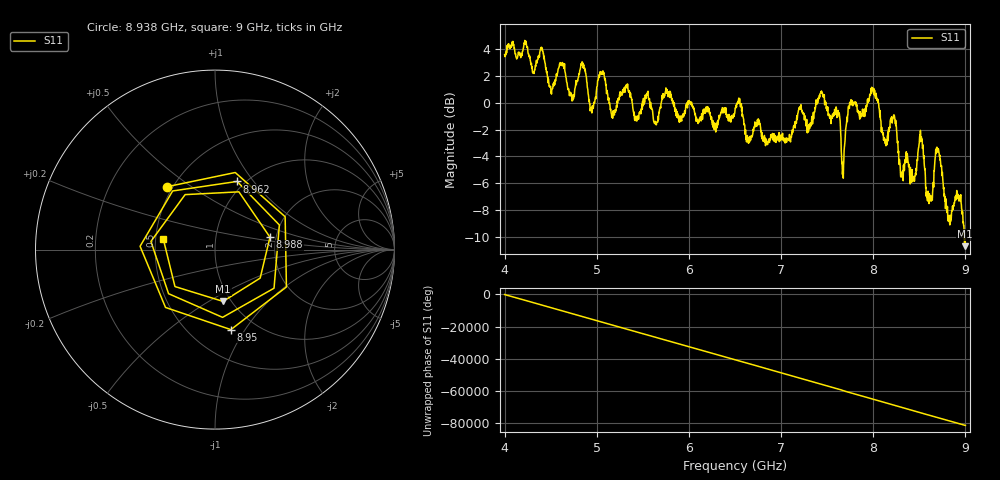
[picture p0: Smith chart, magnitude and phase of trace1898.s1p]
! Created with skrf 1.8.0 (http://scikit-rf.org).
# Hz S RI R 50.0
!freq ReS11 ImS11
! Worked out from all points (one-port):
!   1601 points, 4 GHz to 9 GHz, reference 50 ohm
!   lowest |S11| = -10.7 dB at 8.994 GHz (marker M1), VSWR 1.83, Z = 45.9 - j29 ohm
!   |S11| at or under -10 dB: 8.987725 GHz to end of sweep
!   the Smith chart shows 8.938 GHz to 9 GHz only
!   S11 on the Smith chart (normalised r, x): 8.938 GHz: 0.47, +0.41; 8.95 GHz: 0.77, -0.87; 8.962 GHz: 0.92, +0.83; 8.988 GHz: 1.85, +0.28; 9 GHz: 0.55, +0.07
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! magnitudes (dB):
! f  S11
! 4 GHz  3.6
! 4.506 GHz  0.8
! 4.625 GHz  2.8
! 4.725 GHz  0.5
! 4.844 GHz  3.0
! 4.941 GHz  -0.4
! 5.053 GHz  2.3
! 5.169 GHz  -0.8
! 5.25 GHz  0.5
! 5.875 GHz  -1.0
! 6.5 GHz  -0.6
! 7.125 GHz  -2.2
! 7.444 GHz  0.8
! 7.616 GHz  -0.9
! 7.672 GHz  -5.0
! 7.75 GHz  -0.1
! 8.009 GHz  0.6
! 8.375 GHz  -4.2
! 8.519 GHz  -2.7
! 8.616 GHz  -7.1
! 8.7 GHz  -3.7
! 8.822 GHz  -8.6
! 8.938 GHz  -7.1
! 8.95 GHz  -6.8
! 8.962 GHz  -8.0
! 8.988 GHz  -10.1
! 8.994 GHz  -10.7
! 9 GHz  -10.6
